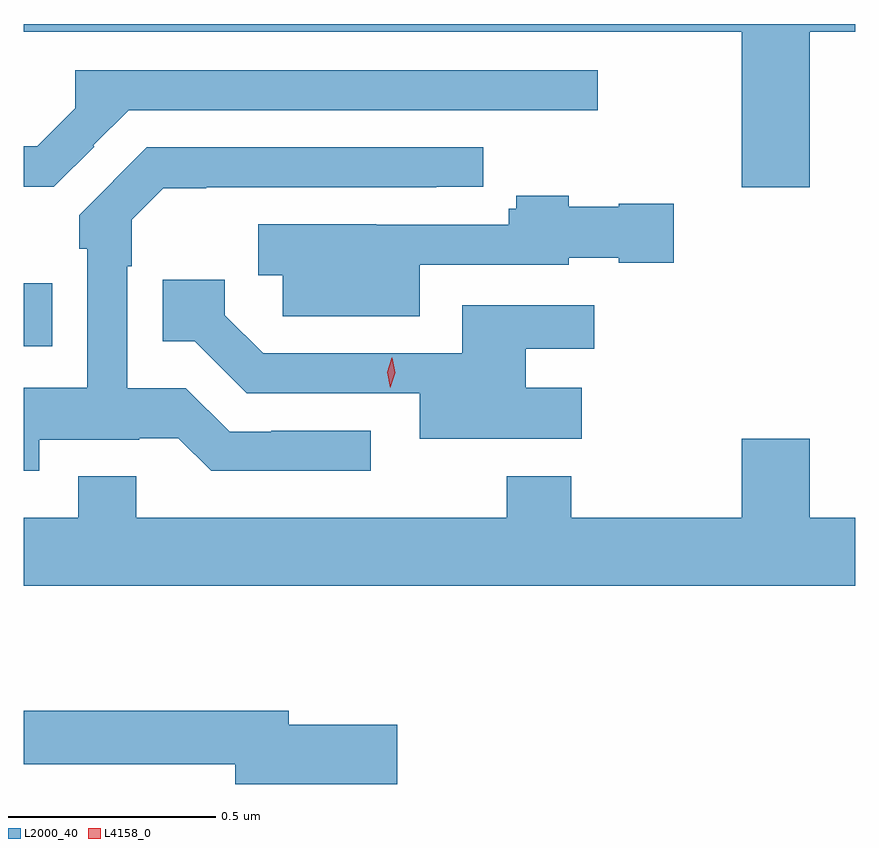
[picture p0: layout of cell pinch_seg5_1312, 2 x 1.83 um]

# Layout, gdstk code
import gdstk
lib = gdstk.Library(unit=1e-6, precision=1e-09)
def R(c, l, rs):  # rectangles x0, y0, x1, y1
    for r in rs: c.add(gdstk.rectangle(r[:2], r[2:], *l))
def P(c, l, *ps):  # polygons
    for p in ps: c.add(gdstk.Polygon(p, *l))
L2000_40 = (2000, 40)
L4158_0 = (4158, 0)

pinch_seg5_1312 = lib.new_cell('pinch_seg5_1312')
R(pinch_seg5_1312, L2000_40, [(462.981,841.352,463.049,841.504)])
P(pinch_seg5_1312, L2000_40, [(464.872,842.108),(464.981,842.108),(464.981,842.127),(462.981,842.127),(462.981,842.108),(464.708,842.108),(464.708,841.734),(464.872,841.734)],
  [(463.151,841.832),(463.148,841.835),(463.233,841.92),(464.362,841.92),(464.362,842.016),(463.105,842.016),(463.105,841.924),(463.014,841.833),(462.981,841.833),(462.981,841.735),(463.053,841.735)],
  [(463.816,841.149),(463.576,841.149),(463.576,841.146),(463.476,841.146),(463.371,841.251),(463.23,841.251),(463.23,841.544),(463.241,841.544),(463.241,841.656),(463.316,841.732),(463.42,841.732),(463.42,841.734),(463.973,841.734),(463.973,841.736),(464.086,841.736),(464.086,841.83),(463.277,841.83),(463.114,841.667),(463.114,841.586),(463.134,841.586),(463.134,841.252),(462.981,841.252),(462.981,841.053),(463.018,841.053),(463.018,841.127),(463.259,841.127),(463.259,841.131),(463.353,841.131),(463.432,841.052),(463.816,841.052)],
  [(463.933,841.548),(464.292,841.548),(464.292,841.565),(464.412,841.565),(464.412,841.553),(464.545,841.553),(464.545,841.695),(464.412,841.695),(464.412,841.687),(464.292,841.687),(464.292,841.714),(464.166,841.714),(464.166,841.683),(464.147,841.683),(464.147,841.644),(463.829,841.644),(463.829,841.645),(463.545,841.645),(463.545,841.523),(463.604,841.523),(463.604,841.424),(463.933,841.424)],
  [(464.323,841.252),(464.189,841.252),(464.189,841.346),(464.353,841.346),(464.353,841.45),(464.036,841.45),(464.036,841.335),(463.557,841.335),(463.465,841.427),(463.465,841.512),(463.315,841.512),(463.315,841.364),(463.392,841.364),(463.517,841.239),(463.934,841.239),(463.934,841.13),(464.323,841.13)],
  [(464.981,840.94),(464.872,840.94),(464.872,841.129),(464.708,841.129),(464.708,840.94),(464.298,840.94),(464.298,841.039),(464.143,841.039),(464.143,840.94),(463.252,840.94),(463.252,841.039),(463.112,841.039),(463.112,840.94),(462.981,840.94),(462.981,840.776),(464.981,840.776)],
  [(463.879,840.441),(463.618,840.441),(463.618,840.475),(462.981,840.475),(462.981,840.346),(463.49,840.346),(463.49,840.299),(463.879,840.299)])
P(pinch_seg5_1312, L4158_0, [(463.863,841.252),(463.863,841.252),(463.855,841.289),(463.866,841.324),(463.866,841.324),(463.867,841.324),(463.875,841.288),(463.863,841.252)])

lib.write_gds('pinch_seg5_1312.gds')
